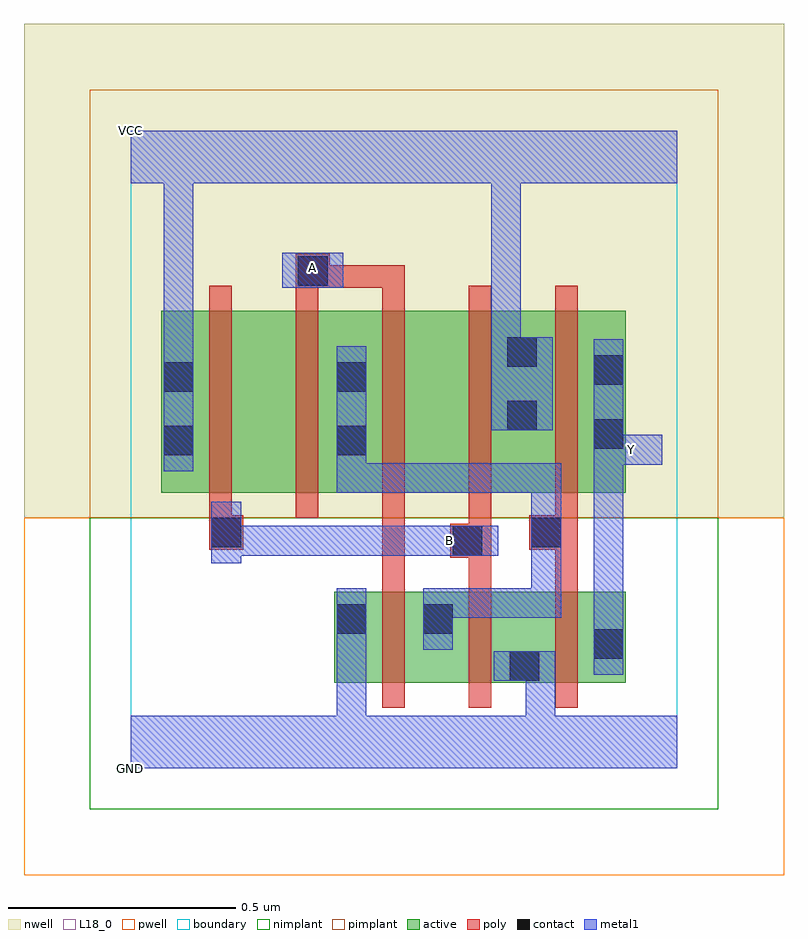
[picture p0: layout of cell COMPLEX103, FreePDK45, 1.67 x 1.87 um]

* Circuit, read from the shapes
.subckt COMPLEX103 A B GND VCC Y
M1 n1 A GND VSUBS nfet w=0.2u l=0.05u
M2 GND B n1 VSUBS nfet w=0.2u l=0.05u
M3 Y n1 GND VSUBS nfet w=0.2u l=0.05u
M4 n2 B VCC n3 pfet w=0.4u l=0.05u
M5 n1 A n2 n3 pfet w=0.4u l=0.05u
M6 n4 A n1 n3 pfet w=0.4u l=0.05u
M7 VCC B n4 n3 pfet w=0.4u l=0.05u
M8 Y n1 VCC n3 pfet w=0.4u l=0.05u
.ends

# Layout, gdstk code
import gdstk
lib = gdstk.Library(unit=1e-6, precision=1e-09)
def R(c, l, rs):  # rectangles x0, y0, x1, y1
    for r in rs: c.add(gdstk.rectangle(r[:2], r[2:], *l))
def A(c, l, x, y, w, h, nx, ny, dx, dy):  # array of equal rectangles
    R(c, l, [(x+i*dx, y+j*dy, x+i*dx+w, y+j*dy+h) for i in range(nx) for j in range(ny)])
active = (1, 0)
pwell = (2, 0)
nwell = (3, 0)
nimplant = (4, 0)
pimplant = (5, 0)
poly = (9, 0)
contact = (10, 0)
metal1 = (11, 0)
L18_0 = (18, 0)
boundary = (235, 0)

complex103 = lib.new_cell('COMPLEX103')
R(complex103, active, [(0.447,0.187,0.712,0.387), (0.447,0.187,0.522,0.387), (0.637,0.187,0.902,0.387), (0.827,0.187,1.087,0.387), (0.827,0.187,0.902,0.292), (0.637,0.2,0.712,0.365), (1.012,0.2,1.087,0.387), (0.067,0.605,0.142,1.005), (0.067,0.605,0.292,1.005), (0.292,0.605,0.522,1.005), (0.447,0.605,0.522,1.005), (0.447,0.605,0.672,1.005), (0.672,0.605,0.897,1.005), (0.822,0.605,1.087,1.005), (1.012,0.605,1.087,1.005), (0.822,0.622,0.897,1.005)])
R(complex103, pwell, [(-0.235,-0.235,1.435,0.55)])
R(complex103, nwell, [(-0.235,0.55,1.435,1.635)])
R(complex103, nimplant, [(-0.09,-0.09,1.29,0.55)])
R(complex103, pimplant, [(-0.09,0.55,1.29,1.49)])
A(complex103, poly, 0.552, 0.132, 0.05, 0.31, 3, 1, 0.19, 0)
A(complex103, poly, 0.172, 0.505, 0.05, 0.095, 3, 1, 0.38, 0)
A(complex103, poly, 0.172, 0.55, 0.05, 0.51, 5, 1, 0.19, 0)
R(complex103, poly, [(0.552,0.392,0.602,0.555), (0.742,0.392,0.792,0.512), (0.932,0.392,0.982,0.53), (0.702,0.462,0.792,0.537), (0.172,0.48,0.247,0.555), (0.875,0.48,0.982,0.555), (0.742,0.487,0.792,0.6), (0.552,0.505,0.602,0.555), (0.362,1.01,0.412,1.105), (0.552,1.01,0.602,1.105), (0.362,1.055,0.437,1.13), (0.387,1.055,0.602,1.105), (0.552,1.055,0.602,1.105), (0.552,1.055,0.602,1.105), (0.552,1.055,0.602,1.105)])
R(complex103, contact, [(0.832,0.192,0.897,0.257), (1.017,0.24,1.082,0.305), (0.452,0.295,0.517,0.36), (0.642,0.295,0.707,0.36), (0.707,0.467,0.772,0.532), (0.177,0.485,0.242,0.55), (0.88,0.485,0.945,0.55), (0.072,0.687,0.137,0.752), (0.452,0.687,0.517,0.752), (1.017,0.702,1.082,0.767), (0.827,0.742,0.892,0.807), (0.072,0.827,0.137,0.892), (0.452,0.827,0.517,0.892), (1.017,0.842,1.082,0.907), (0.827,0.882,0.892,0.947), (0.367,1.06,0.432,1.125)])
R(complex103, metal1, [(0,0,1.2,0.115), (0.452,0.05,0.517,0.115), (0.452,0.05,0.517,0.115), (0.452,0.05,0.517,0.325), (0.867,0.05,0.932,0.257), (0.797,0.192,0.932,0.257), (0.867,0.192,0.932,0.257), (0.867,0.192,0.932,0.257), (1.017,0.205,1.082,0.34), (0.452,0.26,0.517,0.395), (0.642,0.26,0.707,0.395), (1.017,0.275,1.082,0.732), (0.642,0.33,0.707,0.395), (0.642,0.33,0.707,0.395), (0.642,0.33,0.945,0.395), (0.88,0.33,0.945,0.395), (0.88,0.33,0.945,0.585), (0.177,0.45,0.242,0.585), (0.88,0.45,0.945,0.585), (0.177,0.467,0.242,0.532), (0.177,0.467,0.242,0.532), (0.177,0.467,0.38,0.532), (0.315,0.467,0.38,0.532), (0.315,0.467,0.517,0.532), (0.452,0.467,0.517,0.532), (0.452,0.467,0.517,0.532), (0.452,0.467,0.517,0.532), (0.452,0.467,0.697,0.532), (0.632,0.467,0.697,0.532), (0.632,0.467,0.697,0.532), (0.632,0.467,0.807,0.532), (0.88,0.52,0.945,0.585), (0.88,0.52,0.945,0.585), (0.88,0.52,0.945,0.67), (0.452,0.605,0.72,0.67), (0.452,0.605,0.517,0.717), (0.655,0.605,0.72,0.67), (0.655,0.605,0.72,0.67), (0.655,0.605,0.72,0.67), (0.655,0.605,0.945,0.67), (0.88,0.605,0.945,0.67), (0.072,0.652,0.137,0.927), (0.452,0.652,0.517,0.717), (0.452,0.652,0.517,0.927), (1.017,0.667,1.082,0.732), (1.017,0.667,1.082,0.942), (1.017,0.667,1.167,0.732), (0.792,0.742,0.927,0.947), (0.072,0.862,0.137,1.35), (0.792,0.882,0.857,0.947), (0.792,0.882,0.857,0.947), (0.792,0.882,0.857,0.947), (0.792,0.882,0.857,0.947), (0.792,0.882,0.857,1.35), (0.332,1.055,0.467,1.132), (0,1.285,1.2,1.4), (0.072,1.285,0.137,1.35), (0.072,1.285,0.137,1.35), (0.072,1.285,0.137,1.35), (0.072,1.285,0.137,1.35)])
R(complex103, L18_0, [(0,0,1.2,0.115), (0.452,0.05,0.517,0.325), (0.452,0.05,0.517,0.115), (0.452,0.05,0.517,0.115), (0.867,0.05,0.932,0.257), (0.797,0.192,0.932,0.257), (0.867,0.192,0.932,0.257), (0.867,0.192,0.932,0.257), (1.017,0.205,1.082,0.34), (0.452,0.26,0.517,0.395), (1.017,0.275,1.082,0.732), (0.177,0.45,0.242,0.585), (0.177,0.467,0.242,0.532), (0.177,0.467,0.242,0.532), (0.177,0.467,0.38,0.532), (0.315,0.467,0.38,0.532), (0.315,0.467,0.517,0.532), (0.452,0.467,0.517,0.532), (0.452,0.467,0.517,0.532), (0.452,0.467,0.517,0.532), (0.452,0.467,0.697,0.532), (0.632,0.467,0.697,0.532), (0.632,0.467,0.697,0.532), (0.632,0.467,0.807,0.532), (0.667,0.467,0.732,0.532), (0.072,0.652,0.137,0.927), (1.017,0.667,1.082,0.942), (1.017,0.667,1.082,0.732), (1.017,0.667,1.167,0.732), (1.067,0.667,1.132,0.732), (0.792,0.742,0.927,0.947), (0.072,0.862,0.137,1.35), (0.792,0.882,0.857,0.947), (0.792,0.882,0.857,0.947), (0.792,0.882,0.857,0.947), (0.792,0.882,0.857,0.947), (0.792,0.882,0.857,1.35), (0.332,1.055,0.467,1.132), (0.367,1.067,0.432,1.132), (0,1.285,1.2,1.4), (0.072,1.285,0.137,1.35), (0.072,1.285,0.137,1.35), (0.072,1.285,0.137,1.35), (0.072,1.285,0.137,1.35)])
R(complex103, boundary, [(0,0,1.2,1.4)])
complex103.add(gdstk.Label('A', (0.4,1.1), layer=11, texttype=0))
complex103.add(gdstk.Label('B', (0.7,0.5), layer=11, texttype=0))
complex103.add(gdstk.Label('Y', (1.1,0.7), layer=11, texttype=0))
complex103.add(gdstk.Label('VCC', (0,1.4), layer=11, texttype=0))
complex103.add(gdstk.Label('GND', (0,0), layer=11, texttype=0))

lib.write_gds('COMPLEX103.gds')
